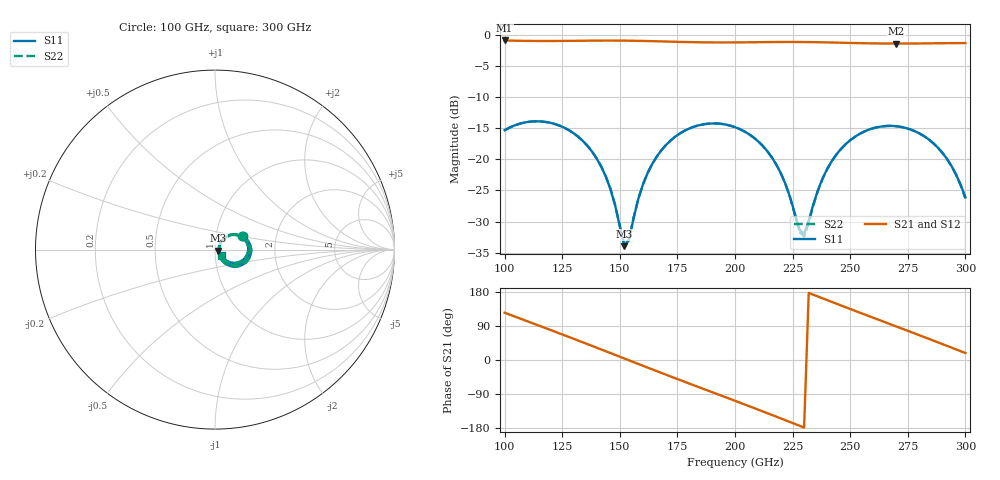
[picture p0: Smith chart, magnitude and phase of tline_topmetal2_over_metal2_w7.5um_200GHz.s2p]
#  GHZ S DB R 50
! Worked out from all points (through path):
!   101 points, 100 GHz to 300 GHz, reference 50 ohm
!   highest |S21| = -0.93 dB at 100 GHz (marker M1); lowest = -1.4 dB at 270 GHz (marker M2)
!   group delay of S21, straight-line fit = 6.49 ps
!   lowest |S11| = -34.0 dB at 152 GHz (marker M3), VSWR 1.04, Z = 52 - j0.548 ohm
!   |S11| at or under -10 dB: start of sweep to end of sweep
!   |S22| runs from -33.8 to -13.9 dB; largest |S21 - S12| = 1e-13
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100  -15.35 26.2  -0.93 124.8  -0.93 124.8  -15.36 26.3
118  -14.02 -10.6  -1.02 83.6  -1.02 83.6  -14.02 -10.7
134  -17.08 -42.6  -0.97 46.6  -0.97 46.6  -17.07 -42.7
144  -22.84 -57.1  -0.95 22.9  -0.95 22.9  -22.83 -57.1
152  -33.96 -15.2  -0.96 3.9  -0.96 3.9  -33.79 -15.3
154  -32.97 25.2  -0.97 -0.9  -0.97 -0.9  -32.83 24.4
160  -24.10 53.4  -1.01 -15.1  -1.01 -15.1  -24.08 52.7
168  -18.58 44.4  -1.08 -33.9  -1.08 -33.9  -18.58 43.8
184  -14.58 13.8  -1.22 -71.0  -1.22 -71.0  -14.57 13.3
200  -14.85 -18.2  -1.24 -107.7  -1.24 -107.7  -14.85 -18.9
210  -17.11 -37.1  -1.21 -130.9  -1.21 -130.9  -17.11 -38.0
218  -20.89 -48.9  -1.18 -149.7  -1.18 -149.7  -20.90 -50.1
228  -31.34 -21.1  -1.18 -173.4  -1.18 -173.4  -31.65 -22.9
230  -31.99 9.3  -1.18 -178.2  -1.18 -178.2  -32.38 8.9
234  -27.24 45.2  -1.20 172.3  -1.20 172.3  -27.39 45.7
240  -21.56 49.5  -1.24 158.1  -1.24 158.1  -21.60 49.5
248  -17.59 38.6  -1.31 139.3  -1.31 139.3  -17.60 38.3
258  -15.26 20.2  -1.39 116.1  -1.39 116.1  -15.26 19.7
268  -14.65 0.7  -1.43 93.1  -1.43 93.1  -14.65 -0.0
270  -14.70 -3.2  -1.43 88.5  -1.43 88.5  -14.70 -4.0
288  -18.11 -36.2  -1.38 46.8  -1.38 46.8  -18.13 -37.5
300  -26.12 -40.4  -1.35 18.4  -1.35 18.4  -26.28 -43.1
